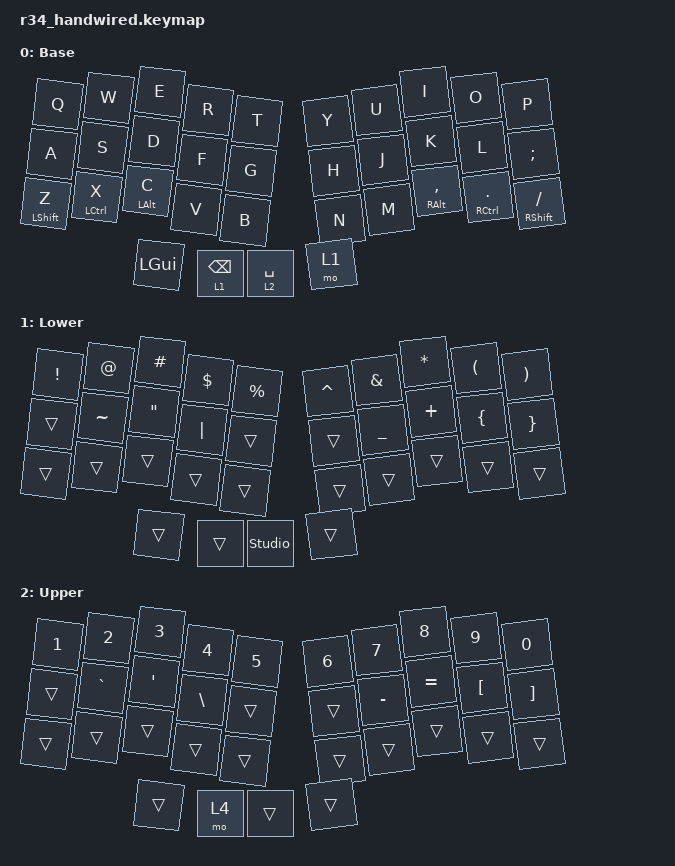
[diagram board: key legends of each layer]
/*
 * Copyright (c) 2023 The ZMK Contributors
 *
 * SPDX-License-Identifier: MIT
 */

#include <behaviors.dtsi>
#include <dt-bindings/zmk/bt.h>
#include <dt-bindings/zmk/keys.h>


/ {
    keymap {
        compatible = "zmk,keymap";

        base {
            display-name = "Base";
            bindings = <
&kp Q        &kp W        &kp E       &kp R     &kp T         &kp Y        &kp U  &kp I           &kp O          &kp P
&kp A        &kp S        &kp D       &kp F     &kp G         &kp H        &kp J  &kp K           &kp L          &kp SEMI
&mt LSHFT Z  &mt LCTRL X  &mt LALT C  &kp V     &kp B         &kp N        &kp M  &mt RALT COMMA  &mt RCTRL DOT  &mt RSHFT SLASH
                                      &kp LGUI  &lt 1 BSPC    &lt 2 SPACE  &mo 1
            >;
        };

        lower {
            display-name = "Lower";
            bindings = <
&kp EXCL  &kp AT     &kp HASH  &kp DLLR  &kp PRCNT    &kp CARET  &kp AMPS   &kp ASTRK  &kp LPAR  &kp RPAR
&trans    &kp TILDE  &kp DQT   &kp PIPE  &trans       &trans     &kp UNDER  &kp PLUS   &kp LBRC  &kp RBRC
&trans    &trans     &trans    &trans    &trans       &trans     &trans     &trans     &trans    &trans
                               &trans    &trans       &studio_unlock      &trans
            >;
        };

        upper {
            display-name = "Upper";
            bindings = <
&kp N1  &kp N2     &kp N3   &kp N4    &kp N5    &kp N6  &kp N7     &kp N8     &kp N9    &kp N0
&trans  &kp GRAVE  &kp SQT  &kp BSLH  &trans    &trans  &kp MINUS  &kp EQUAL  &kp LBKT  &kp RBKT
&trans  &trans     &trans   &trans    &trans    &trans  &trans     &trans     &trans    &trans
                            &trans    &mo 4     &trans  &trans
            >;
        };

        extra_layer_3 {
            status = "reserved";
        };
        
        extra_layer_4 {
            status = "reserved";
        };
    };
};
